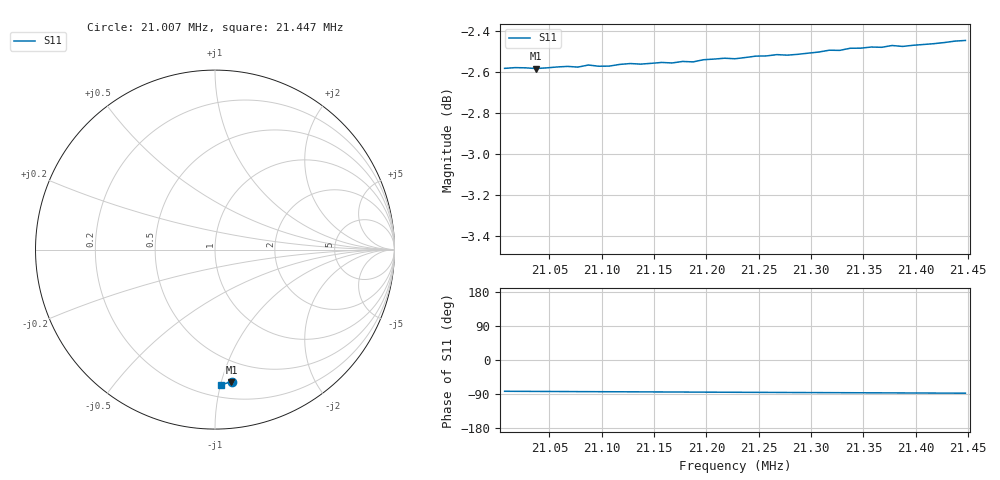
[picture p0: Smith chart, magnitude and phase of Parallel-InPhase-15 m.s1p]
# HZ S RI R 50
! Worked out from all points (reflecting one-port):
!   45 points, 21.007 MHz to 21.447 MHz, reference 50 ohm
!   lowest |S11| = -2.6 dB at 21.037 MHz (marker M1), VSWR 6.77, Z = 16.4 - j53.8 ohm
!   phase of S11 starts at -83 deg and turns -5 deg over the sweep
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2.10072e7  0.0963 -0.7364
2.102721e7  0.0934 -0.737
2.103721e7  0.0914 -0.737
2.104722e7  0.0897 -0.7375
2.106722e7  0.0874 -0.7384
2.107723e7  0.0851 -0.7383
2.108723e7  0.0838 -0.7393
2.109724e7  0.0822 -0.739
2.110724e7  0.0806 -0.7392
2.111724e7  0.0797 -0.7401
2.113725e7  0.0766 -0.7405
2.115726e7  0.0738 -0.7415
2.116726e7  0.0719 -0.7415
2.117727e7  0.0708 -0.7422
2.118727e7  0.0686 -0.7422
2.119728e7  0.0673 -0.7432
2.121728e7  0.0646 -0.7441
2.122729e7  0.0627 -0.7441
2.12673e7  0.0576 -0.7462
2.128731e7  0.0545 -0.7466
2.131732e7  0.0504 -0.7486
2.132733e7  0.049 -0.7486
2.133733e7  0.0476 -0.7496
2.136734e7  0.0432 -0.7502
2.137735e7  0.0418 -0.7511
2.138735e7  0.04 -0.7508
2.139736e7  0.0387 -0.7513
2.144738e7  0.0316 -0.7537
